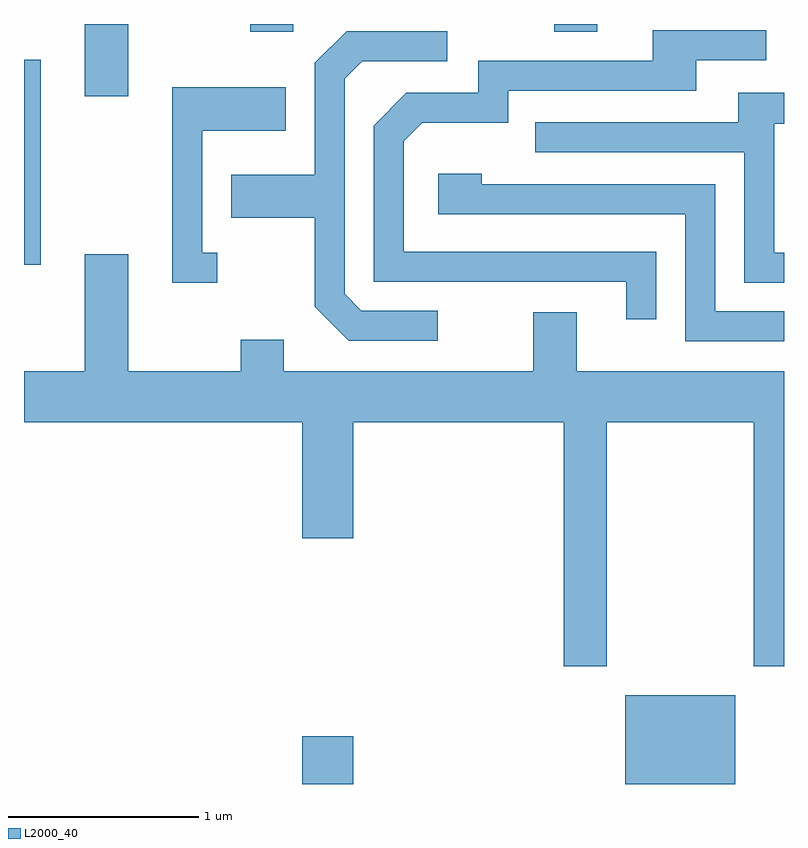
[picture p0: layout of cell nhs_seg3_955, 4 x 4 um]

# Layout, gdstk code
import gdstk
lib = gdstk.Library(unit=1e-6, precision=1e-09)
def R(c, l, rs):  # rectangles x0, y0, x1, y1
    for r in rs: c.add(gdstk.rectangle(r[:2], r[2:], *l))
def P(c, l, *ps):  # polygons
    for p in ps: c.add(gdstk.Polygon(p, *l))
L2000_40 = (2000, 40)

nhs_seg3_955 = lib.new_cell('nhs_seg3_955')
R(nhs_seg3_955, L2000_40, [(215.076,1121.892,215.344,1122.144), (216.776,1121.892,217.354,1122.359), (213.611,1124.626,213.699,1125.704), (213.931,1125.511,214.159,1125.892), (214.801,1125.851,215.029,1125.892), (216.401,1125.851,216.629,1125.892)])
P(nhs_seg3_955, L2000_40, [(216.939,1124.694),(215.609,1124.694),(215.609,1125.274),(215.707,1125.371),(216.159,1125.371),(216.159,1125.541),(217.149,1125.541),(217.149,1125.701),(217.518,1125.701),(217.518,1125.859),(216.921,1125.859),(216.921,1125.699),(216.001,1125.699),(216.001,1125.529),(215.624,1125.529),(215.451,1125.357),(215.451,1124.536),(216.781,1124.536),(216.781,1124.338),(216.939,1124.338)],
  [(215.788,1124.384),(215.387,1124.384),(215.299,1124.472),(215.299,1125.604),(215.392,1125.696),(215.838,1125.696),(215.838,1125.854),(215.309,1125.854),(215.141,1125.687),(215.141,1125.099),(214.701,1125.099),(214.701,1124.871),(215.141,1124.871),(215.141,1124.404),(215.319,1124.226),(215.788,1124.226)],
  [(214.628,1124.689),(214.549,1124.689),(214.549,1125.331),(214.989,1125.331),(214.989,1125.559),(214.391,1125.559),(214.391,1124.531),(214.628,1124.531)],
  [(217.611,1124.689),(217.559,1124.689),(217.559,1125.366),(217.611,1125.366),(217.611,1125.529),(217.371,1125.529),(217.371,1125.374),(216.303,1125.374),(216.303,1125.216),(217.401,1125.216),(217.401,1124.531),(217.611,1124.531)],
  [(217.611,1124.379),(217.249,1124.379),(217.249,1125.049),(216.019,1125.049),(216.019,1125.104),(215.791,1125.104),(215.791,1124.891),(217.091,1124.891),(217.091,1124.221),(217.611,1124.221)],
  [(216.679,1123.796),(217.451,1123.796),(217.451,1122.511),(217.611,1122.511),(217.611,1124.064),(216.519,1124.064),(216.519,1124.374),(216.291,1124.374),(216.291,1124.064),(214.979,1124.064),(214.979,1124.229),(214.751,1124.229),(214.751,1124.064),(214.159,1124.064),(214.159,1124.679),(213.931,1124.679),(213.931,1124.064),(213.611,1124.064),(213.611,1123.796),(215.076,1123.796),(215.076,1123.186),(215.344,1123.186),(215.344,1123.796),(216.451,1123.796),(216.451,1122.511),(216.679,1122.511)])

lib.write_gds('nhs_seg3_955.gds')
